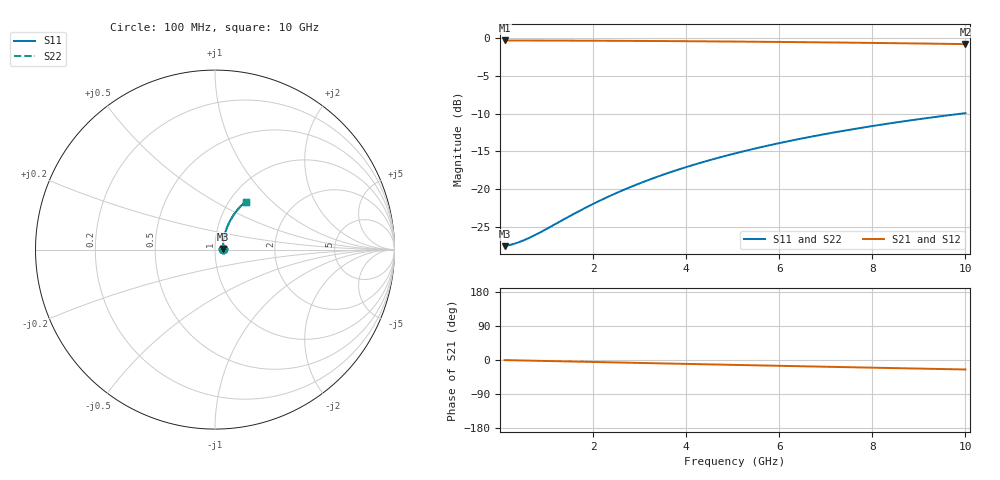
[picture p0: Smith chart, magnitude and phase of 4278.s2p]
# Hz S RI R 50.00
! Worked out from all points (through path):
!   100 points, 100 MHz to 10 GHz, reference 50 ohm
!   highest |S21| = -0.37 dB at 100 MHz (marker M1); lowest = -0.9 dB at 10 GHz (marker M2)
!   group delay of S21, straight-line fit = 6.96 ps
!   lowest |S11| = -27.5 dB at 100 MHz (marker M3), VSWR 1.09, Z = 54.4 + j0.347 ohm
!   |S11| at or under -10 dB: start of sweep to 9.937 GHz
!   |S22| runs from -27.5 to -10.0 dB; largest |S21 - S12| = 0
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1e8  0.0422 0.00318  0.9578 -0.00433  0.9578 -0.00433  0.0422 0.00318
3e8  0.0427 0.00953  0.9573 -0.013  0.9573 -0.013  0.0427 0.00953
4e8  0.043 0.0127  0.957 -0.0173  0.957 -0.0173  0.043 0.0127
5e8  0.0432 0.0159  0.9567 -0.0216  0.9567 -0.0216  0.0432 0.0159
7e8  0.0438 0.0222  0.9561 -0.0302  0.9561 -0.0302  0.0438 0.0222
9e8  0.0445 0.0285  0.9555 -0.0388  0.9555 -0.0388  0.0445 0.0285
1.5e9  0.0469 0.0474  0.9529 -0.0646  0.9529 -0.0646  0.0469 0.0474
1.8e9  0.0485 0.0567  0.9513 -0.0774  0.9513 -0.0774  0.0485 0.0567
2.2e9  0.051 0.0691  0.9487 -0.0943  0.9487 -0.0943  0.051 0.0691
2.6e9  0.0538 0.0814  0.9457 -0.1112  0.9457 -0.1112  0.0538 0.0814
3e9  0.0571 0.0935  0.9422 -0.1279  0.9422 -0.1279  0.0571 0.0935
3.4e9  0.0608 0.1055  0.9384 -0.1445  0.9384 -0.1445  0.0608 0.1055
3.8e9  0.0649 0.1173  0.9341 -0.1609  0.9341 -0.1609  0.0649 0.1173
4.2e9  0.0694 0.1289  0.9293 -0.1771  0.9293 -0.1771  0.0694 0.1289
4.6e9  0.0743 0.1403  0.9242 -0.1931  0.9242 -0.1931  0.0743 0.1403
5.1e9  0.081 0.1542  0.9172 -0.2128  0.9172 -0.2128  0.081 0.1542
5.9e9  0.0928 0.1757  0.9048 -0.2436  0.9048 -0.2436  0.0928 0.1757
6.7e9  0.1059 0.1962  0.891 -0.2733  0.891 -0.2733  0.1059 0.1962
7.5e9  0.1203 0.2155  0.8758 -0.3019  0.8758 -0.3019  0.1203 0.2155
8.4e9  0.1378 0.2357  0.8574 -0.3326  0.8574 -0.3326  0.1378 0.2357
9.2e9  0.1543 0.2523  0.8398 -0.3585  0.8398 -0.3585  0.1543 0.2523
1e10  0.1717 0.2676  0.8213 -0.3831  0.8213 -0.3831  0.1717 0.2676
